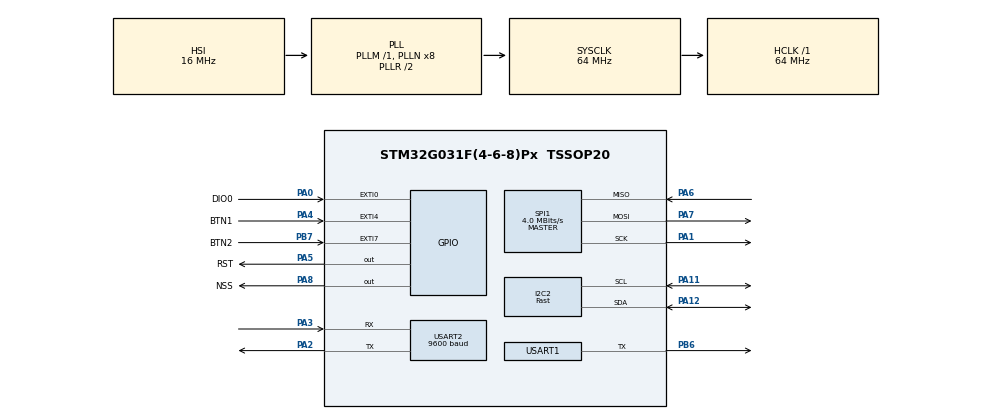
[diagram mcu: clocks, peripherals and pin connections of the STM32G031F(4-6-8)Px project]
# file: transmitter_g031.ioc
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I2C2.I2C_Speed_Mode=I2C_Fast
I2C2.Timing=0x00602173
Mcu.Family=STM32G0
Mcu.Name=STM32G031F(4-6-8)Px
Mcu.Package=TSSOP20
NVIC.EXTI0_1_IRQn=true\:2\:0\:true\:true\:true\:1\:true\:true\:true
NVIC.EXTI4_15_IRQn=true\:3\:0\:true\:false\:true\:true\:true\:true
NVIC.TIM2_IRQn=true\:0\:0\:false\:false\:true\:true\:true\:true
NVIC.USART2_IRQn=true\:2\:0\:true\:true\:true\:2\:true\:true\:true
PA0.GPIO_Label=DIO0
PA0.Signal=GPXTI0
PA1.Mode=Full_Duplex_Master
PA1.Signal=SPI1_SCK
PA11\ [PA9].Mode=I2C
PA11\ [PA9].Signal=I2C2_SCL
PA12\ [PA10].Mode=I2C
PA12\ [PA10].Signal=I2C2_SDA
PA13.Mode=Serial_Wire
PA13.Signal=SYS_SWDIO
PA14-BOOT0.Mode=Serial_Wire
PA14-BOOT0.Signal=SYS_SWCLK
PA14-BOOT0__PA15.StandardMode=true
PA2.Mode=Asynchronous
PA2.Signal=USART2_TX
PA3.Mode=Asynchronous
PA3.Signal=USART2_RX
PA4.GPIO_Label=BTN1
PA4.GPIO_PuPd=GPIO_PULLDOWN
PA4.Signal=GPXTI4
PA5.GPIO_Label=RST
PA5.Signal=GPIO_Output
PA6.Mode=Full_Duplex_Master
PA6.Signal=SPI1_MISO
PA7.Mode=Full_Duplex_Master
PA7.Signal=SPI1_MOSI
PA8.GPIO_Label=NSS
PA8.Signal=GPIO_Output
PB0__PB1__PB2__PA8.StandardMode=true
PB3__PB4__PB5__PB6.StandardMode=true
PB6.Mode=Half_duplex(single_wire_mode)
PB6.Signal=USART1_TX
PB7.GPIO_Label=BTN2
PB7.GPIO_PuPd=GPIO_PULLDOWN
PB7.Signal=GPXTI7
PB7__PB8.StandardMode=true
PC14-OSC32_IN\ (PC14)__PB9.StandardMode=true
ProjectManager.HeapSize=0x200
ProjectManager.StackSize=0x400
ProjectManager.TargetToolchain=Makefile
RCC.ADCFreq_Value=64000000
RCC.AHBFreq_Value=64000000
RCC.CortexFreq_Value=64000000
RCC.EXTERNAL_CLOCK_VALUE=12288000
RCC.HCLKFreq_Value=64000000
RCC.HSE_VALUE=8000000
RCC.HSI_VALUE=16000000
RCC.LSE_VALUE=32768
RCC.SYSCLKFreq_VALUE=64000000
RCC.SYSCLKSource=RCC_SYSCLKSOURCE_PLLCLK
RCC.VCOOutputFreq_Value=128000000
SPI1.BaudRatePrescaler=SPI_BAUDRATEPRESCALER_16
SPI1.CalculateBaudRate=4.0 MBits/s
SPI1.Direction=SPI_DIRECTION_2LINES
SPI1.Mode=SPI_MODE_MASTER
SPI1.VirtualType=VM_MASTER
TIM2.Period=2000
TIM2.Prescaler=64000
USART1.Mode=MODE_TX
USART1.VirtualMode-Half_duplex(single_wire_mode)=VM_ASYNC
USART2.BaudRate=9600
USART2.VirtualMode-Asynchronous=VM_ASYNC
VP_TIM2_VS_ClockSourceINT.Mode=Internal
board=custom

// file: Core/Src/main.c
/* USER CODE BEGIN Header */
/**
  ******************************************************************************
  * @file           : main.c
  * @brief          : Main program body
  ******************************************************************************
  * @attention
  *
  * Copyright (c) 2023 STMicroelectronics.
  * All rights reserved.
  *
  * This software is licensed under terms that can be found in the LICENSE file
  * in the root directory of this software component.
  * If no LICENSE file comes with this software, it is provided AS-IS.
  *
  ******************************************************************************
  */
/* USER CODE END Header */
#include "main.h"

I2C_HandleTypeDef hi2c2;

SPI_HandleTypeDef hspi1;

TIM_HandleTypeDef htim2;

UART_HandleTypeDef huart1;
UART_HandleTypeDef huart2;

/* USER CODE BEGIN PV */
SX1278_TypeDef lora;
SX1278_Status_TypeDef lora_status;
Program_Status program_status;
MENU_TypeDef menu;
uint8_t gps_msg[196];
uint8_t gps_msg_len;
uint8_t gps_single_byte;
/* USER CODE END PV */

void SystemClock_Config(void);
static void MX_GPIO_Init(void);
static void MX_I2C2_Init(void);
static void MX_SPI1_Init(void);
static void MX_USART1_UART_Init(void);
static void MX_USART2_UART_Init(void);
static void MX_TIM2_Init(void);
static void MX_NVIC_Init(void);

int main(void)
{

  /* MCU Configuration--------------------------------------------------------*/

  /* Reset of all peripherals, Initializes the Flash interface and the Systick. */
  HAL_Init();

  /* Configure the system clock */
  SystemClock_Config();

  /* Initialize all configured peripherals */
  MX_GPIO_Init();
  MX_I2C2_Init();
  MX_SPI1_Init();
  MX_USART1_UART_Init();
  MX_USART2_UART_Init();
  MX_TIM2_Init();

  /* Initialize interrupts */
  MX_NVIC_Init();
  /* USER CODE BEGIN 2 */
  printf("\r\n===================================\r\n");
  program_status = IDLE;
  debug_print("%s\r\n", "program_status = IDLE");
  ssd1306_init(&hi2c2);
  HAL_Delay(1000);
  if (gps_init(&huart2) != HAL_OK) {
    Error_Handler();
  }
  HAL_Delay(3000);
  lora = new_lora(TRANSMITTER, &hspi1, NSS_GPIO_Port, NSS_Pin, RST_GPIO_Port, RST_Pin);
  lora.freqMHz = 433;
  lora.bandwidth = BW_125KHz;
  lora.spreading_factor = SF_8;
  lora.coding_rate = CODING_RATE_4_8;
  lora.syncword = 0x12;
  lora.power = 19;
  lora.crc = 0x00;
  uint8_t counter = 0;
  char msg1[255];
  char msg2[255];
  char debug_msg[22];
  uint32_t idle_counter = 0;
  menu = new_menu();
  if (lora_init(&lora) != LORA_OK) {
		Error_Handler();
	}
//  lora_dump_registers(&lora);
  debug_print("%s\r\n", "INFO: SX1278 Initialized");
  debug_print("%s\r\n", "INFO: Timer2 started");
  HAL_TIM_Base_Start_IT(&htim2);
  /* USER CODE END 2 */

  /* Infinite loop */
  while (1)
  {

    /* USER CODE BEGIN 3 */

    switch (program_status) {
      case IDLE:
        idle_counter++;
        if ((idle_counter % 524288) == 0) {
          debug_print("%s\r\n", "INFO: Idling");
        }
        break;
      case CONFIG:
        HAL_TIM_Base_Stop_IT(&htim2);
        if (menu.btn1_state == BUTTON_ON) {
          menu.btn1_state = BUTTON_OFF;
          menu.active_position++;
          if (menu.active_position >= MENU_SIZE) {
            menu.active_position = 0;
            debug_print("%s\r\n", "program_status = IDLE");
            program_status = IDLE;
            if (lora_init(&lora) != LORA_OK) {
		          Error_Handler();
	          }
            HAL_TIM_Base_Start_IT(&htim2);
            break;
          } else {
            menu_get_active_item(&menu, &lora);
          }
        }
        if (menu.btn2_state == BUTTON_ON) {
          menu.btn2_state = BUTTON_OFF;
          menu_increase_item(&menu, &lora);
        }
        ssd1306_clear();
        ssd1306_printstring(menu.menu_position[menu.active_position], 5, 1);
        ssd1306_printhex(menu.menu_items[menu.active_position][menu.active_item], 7, 1);
        ssd1306_commit(&hi2c2);
        break;
      case REQUEST4POSITION:
        HAL_UART_Receive_IT(&huart2, &gps_single_byte, 1);
        debug_print("%s\r\n", "program_status = IDLE");
        program_status = IDLE;
        if (gps_position_request(&huart2) != HAL_OK) {
          program_status = REQUEST4POSITION;
        }
        break;
      case TRANSMITTING:
        debug_print("%s\r\n", gps_msg);
        memset(debug_msg, '\0', 22);
        memset(msg1, '\0', 255);
        memset(msg2, '\0', 255);
        strncpy(debug_msg, (char *)gps_msg + GPS_POS_LAT, 12);
        sprintf(msg1, "%03d,0%s", counter, debug_msg);
        counter++;

        memset(debug_msg, '\0', 22);
        strncpy(debug_msg, (char *)gps_msg + GPS_POS_LON, 13);
        sprintf(msg2, "%03d,%s", counter, debug_msg);
        counter++;

        if (lora_send(&lora, (uint8_t *)msg1, strlen(msg1)) == LORA_OK) {
          HAL_Delay(TIME_BETWEEN_MSGS);
          if (lora_send(&lora, (uint8_t *)msg2, strlen(msg2)) == LORA_OK) {
            ssd1306_clear();
            debug_print("%s\r\n", "program_status = IDLE");
            program_status = IDLE;
            debug_print("%s %s\r\n", "TRANSMITTED", msg1);
            debug_print("%s %s\r\n", "TRANSMITTED", msg2);
            sprintf(debug_msg, "%x  %x  0%x  %x",lora.spreading_factor, lora.bandwidth, lora.coding_rate, lora.crc);
            ssd1306_printstring("SF  BW  CR  CRC", 6, 1);
            ssd1306_printstring(debug_msg, 7, 1);
            ssd1306_printstring(msg1, 0, 1);
            ssd1306_printstring(msg2, 1, 1);
            ssd1306_commit(&hi2c2);
          }
        }
        break;
      default:
        break;
    }

  }
  /* USER CODE END 3 */
}

void SystemClock_Config(void)
{
  RCC_OscInitTypeDef RCC_OscInitStruct = {0};
  RCC_ClkInitTypeDef RCC_ClkInitStruct = {0};

  /** Configure the main internal regulator output voltage
  */
  HAL_PWREx_ControlVoltageScaling(PWR_REGULATOR_VOLTAGE_SCALE1);

  /** Initializes the RCC Oscillators according to the specified parameters
  * in the RCC_OscInitTypeDef structure.
  */
  RCC_OscInitStruct.OscillatorType = RCC_OSCILLATORTYPE_HSI;
  RCC_OscInitStruct.HSIState = RCC_HSI_ON;
  RCC_OscInitStruct.HSIDiv = RCC_HSI_DIV1;
  RCC_OscInitStruct.HSICalibrationValue = RCC_HSICALIBRATION_DEFAULT;
  RCC_OscInitStruct.PLL.PLLState = RCC_PLL_ON;
  RCC_OscInitStruct.PLL.PLLSource = RCC_PLLSOURCE_HSI;
  RCC_OscInitStruct.PLL.PLLM = RCC_PLLM_DIV1;
  RCC_OscInitStruct.PLL.PLLN = 8;
  RCC_OscInitStruct.PLL.PLLP = RCC_PLLP_DIV2;
  RCC_OscInitStruct.PLL.PLLQ = RCC_PLLQ_DIV2;
  RCC_OscInitStruct.PLL.PLLR = RCC_PLLR_DIV2;
  if (HAL_RCC_OscConfig(&RCC_OscInitStruct) != HAL_OK)
  {
    Error_Handler();
  }

  /** Initializes the CPU, AHB and APB buses clocks
  */
  RCC_ClkInitStruct.ClockType = RCC_CLOCKTYPE_HCLK|RCC_CLOCKTYPE_SYSCLK
                              |RCC_CLOCKTYPE_PCLK1;
  RCC_ClkInitStruct.SYSCLKSource = RCC_SYSCLKSOURCE_PLLCLK;
  RCC_ClkInitStruct.AHBCLKDivider = RCC_SYSCLK_DIV1;
  RCC_ClkInitStruct.APB1CLKDivider = RCC_HCLK_DIV1;

  if (HAL_RCC_ClockConfig(&RCC_ClkInitStruct, FLASH_LATENCY_2) != HAL_OK)
  {
    Error_Handler();
  }
}

/**
  * @brief NVIC Configuration.
  * @retval None
  */
static void MX_NVIC_Init(void)
{
  /* EXTI0_1_IRQn interrupt configuration */
  HAL_NVIC_SetPriority(EXTI0_1_IRQn, 2, 0);
  HAL_NVIC_EnableIRQ(EXTI0_1_IRQn);
  /* USART2_IRQn interrupt configuration */
  HAL_NVIC_SetPriority(USART2_IRQn, 2, 0);
  HAL_NVIC_EnableIRQ(USART2_IRQn);
}

static void MX_I2C2_Init(void)
{

  hi2c2.Instance = I2C2;
  hi2c2.Init.Timing = 0x00602173;
  hi2c2.Init.OwnAddress1 = 0;
  hi2c2.Init.AddressingMode = I2C_ADDRESSINGMODE_7BIT;
  hi2c2.Init.DualAddressMode = I2C_DUALADDRESS_DISABLE;
  hi2c2.Init.OwnAddress2 = 0;
  hi2c2.Init.OwnAddress2Masks = I2C_OA2_NOMASK;
  hi2c2.Init.GeneralCallMode = I2C_GENERALCALL_DISABLE;
  hi2c2.Init.NoStretchMode = I2C_NOSTRETCH_DISABLE;
  if (HAL_I2C_Init(&hi2c2) != HAL_OK)
  {
    Error_Handler();
  }

  /** Configure Analogue filter
  */
  if (HAL_I2CEx_ConfigAnalogFilter(&hi2c2, I2C_ANALOGFILTER_ENABLE) != HAL_OK)
  {
    Error_Handler();
  }

  /** Configure Digital filter
  */
  if (HAL_I2CEx_ConfigDigitalFilter(&hi2c2, 0) != HAL_OK)
  {
    Error_Handler();
  }

}

static void MX_SPI1_Init(void)
{

  /* SPI1 parameter configuration*/
  hspi1.Instance = SPI1;
  hspi1.Init.Mode = SPI_MODE_MASTER;
  hspi1.Init.Direction = SPI_DIRECTION_2LINES;
  hspi1.Init.DataSize = SPI_DATASIZE_8BIT;
  hspi1.Init.CLKPolarity = SPI_POLARITY_LOW;
  hspi1.Init.CLKPhase = SPI_PHASE_1EDGE;
  hspi1.Init.NSS = SPI_NSS_SOFT;
  hspi1.Init.BaudRatePrescaler = SPI_BAUDRATEPRESCALER_16;
  hspi1.Init.FirstBit = SPI_FIRSTBIT_MSB;
  hspi1.Init.TIMode = SPI_TIMODE_DISABLE;
  hspi1.Init.CRCCalculation = SPI_CRCCALCULATION_DISABLE;
  hspi1.Init.CRCPolynomial = 7;
  hspi1.Init.CRCLength = SPI_CRC_LENGTH_DATASIZE;
  hspi1.Init.NSSPMode = SPI_NSS_PULSE_ENABLE;
  if (HAL_SPI_Init(&hspi1) != HAL_OK)
  {
    Error_Handler();
  }

}

static void MX_TIM2_Init(void)
{

  TIM_ClockConfigTypeDef sClockSourceConfig = {0};
  TIM_MasterConfigTypeDef sMasterConfig = {0};

  htim2.Instance = TIM2;
  htim2.Init.Prescaler = 64000;
  htim2.Init.CounterMode = TIM_COUNTERMODE_UP;
  htim2.Init.Period = 2000;
  htim2.Init.ClockDivision = TIM_CLOCKDIVISION_DIV1;
  htim2.Init.AutoReloadPreload = TIM_AUTORELOAD_PRELOAD_DISABLE;
  if (HAL_TIM_Base_Init(&htim2) != HAL_OK)
  {
    Error_Handler();
  }
  sClockSourceConfig.ClockSource = TIM_CLOCKSOURCE_INTERNAL;
  if (HAL_TIM_ConfigClockSource(&htim2, &sClockSourceConfig) != HAL_OK)
  {
    Error_Handler();
  }
  sMasterConfig.MasterOutputTrigger = TIM_TRGO_RESET;
  sMasterConfig.MasterSlaveMode = TIM_MASTERSLAVEMODE_DISABLE;
  if (HAL_TIMEx_MasterConfigSynchronization(&htim2, &sMasterConfig) != HAL_OK)
  {
    Error_Handler();
  }

}

static void MX_USART1_UART_Init(void)
{

  huart1.Instance = USART1;
  huart1.Init.BaudRate = 115200;
  huart1.Init.WordLength = UART_WORDLENGTH_8B;
  huart1.Init.StopBits = UART_STOPBITS_1;
  huart1.Init.Parity = UART_PARITY_NONE;
  huart1.Init.Mode = UART_MODE_TX;
  huart1.Init.HwFlowCtl = UART_HWCONTROL_NONE;
  huart1.Init.OverSampling = UART_OVERSAMPLING_16;
  huart1.Init.OneBitSampling = UART_ONE_BIT_SAMPLE_DISABLE;
  huart1.Init.ClockPrescaler = UART_PRESCALER_DIV1;
  huart1.AdvancedInit.AdvFeatureInit = UART_ADVFEATURE_NO_INIT;
  if (HAL_HalfDuplex_Init(&huart1) != HAL_OK)
  {
    Error_Handler();
  }
  if (HAL_UARTEx_SetTxFifoThreshold(&huart1, UART_TXFIFO_THRESHOLD_1_8) != HAL_OK)
  {
    Error_Handler();
  }
  if (HAL_UARTEx_SetRxFifoThreshold(&huart1, UART_RXFIFO_THRESHOLD_1_8) != HAL_OK)
  {
    Error_Handler();
  }
  if (HAL_UARTEx_DisableFifoMode(&huart1) != HAL_OK)
  {
    Error_Handler();
  }

}

static void MX_USART2_UART_Init(void)
{

  huart2.Instance = USART2;
  huart2.Init.BaudRate = 9600;
  huart2.Init.WordLength = UART_WORDLENGTH_8B;
  huart2.Init.StopBits = UART_STOPBITS_1;
  huart2.Init.Parity = UART_PARITY_NONE;
  huart2.Init.Mode = UART_MODE_TX_RX;
  huart2.Init.HwFlowCtl = UART_HWCONTROL_NONE;
  huart2.Init.OverSampling = UART_OVERSAMPLING_16;
  huart2.Init.OneBitSampling = UART_ONE_BIT_SAMPLE_DISABLE;
  huart2.Init.ClockPrescaler = UART_PRESCALER_DIV1;
  huart2.AdvancedInit.AdvFeatureInit = UART_ADVFEATURE_NO_INIT;
  if (HAL_UART_Init(&huart2) != HAL_OK)
  {
    Error_Handler();
  }

}

static void MX_GPIO_Init(void)
{
  GPIO_InitTypeDef GPIO_InitStruct = {0};

  /* GPIO Ports Clock Enable */
  __HAL_RCC_GPIOB_CLK_ENABLE();
  __HAL_RCC_GPIOA_CLK_ENABLE();

  /*Configure GPIO pin Output Level */
  HAL_GPIO_WritePin(GPIOA, RST_Pin|NSS_Pin, GPIO_PIN_RESET);

  /*Configure GPIO pin : BTN2_Pin */
  GPIO_InitStruct.Pin = BTN2_Pin;
  GPIO_InitStruct.Mode = GPIO_MODE_IT_RISING;
  GPIO_InitStruct.Pull = GPIO_PULLDOWN;
  HAL_GPIO_Init(BTN2_GPIO_Port, &GPIO_InitStruct);

  /*Configure GPIO pin : DIO0_Pin */
  GPIO_InitStruct.Pin = DIO0_Pin;
  GPIO_InitStruct.Mode = GPIO_MODE_IT_RISING;
  GPIO_InitStruct.Pull = GPIO_NOPULL;
  HAL_GPIO_Init(DIO0_GPIO_Port, &GPIO_InitStruct);

  /*Configure GPIO pin : BTN1_Pin */
  GPIO_InitStruct.Pin = BTN1_Pin;
  GPIO_InitStruct.Mode = GPIO_MODE_IT_RISING;
  GPIO_InitStruct.Pull = GPIO_PULLDOWN;
  HAL_GPIO_Init(BTN1_GPIO_Port, &GPIO_InitStruct);

  /*Configure GPIO pins : RST_Pin NSS_Pin */
  GPIO_InitStruct.Pin = RST_Pin|NSS_Pin;
  GPIO_InitStruct.Mode = GPIO_MODE_OUTPUT_PP;
  GPIO_InitStruct.Pull = GPIO_NOPULL;
  GPIO_InitStruct.Speed = GPIO_SPEED_FREQ_LOW;
  HAL_GPIO_Init(GPIOA, &GPIO_InitStruct);

  /* EXTI interrupt init*/
  HAL_NVIC_SetPriority(EXTI4_15_IRQn, 3, 0);
  HAL_NVIC_EnableIRQ(EXTI4_15_IRQn);

}

/* USER CODE BEGIN 4 */
void HAL_GPIO_EXTI_Rising_Callback(uint16_t GPIO_Pin)
{

	if (GPIO_Pin == DIO0_Pin) {
		debug_print("%ld %s\r\n", HAL_GetTick(), "INFO: TX Complete");
		lora_write_register(&lora, RegIrqFlags, IRQ_TX_DONE_MASK);
		if (lora_safe_write(&lora, RegOpMode, LONG_RANGE_MODE | SLEEP_MODE) != LORA_OK) {
			Error_Handler();
		}
    debug_print("%s\r\n", "program_status = IDLE");
		program_status = IDLE;
    HAL_TIM_Base_Start_IT(&htim2);
	} else if (GPIO_Pin == BTN1_Pin) {
    debug_print("INFO: %s\r\n", "raising IRQ on btn1");
    if (menu.btn1_time_clicked == 0 || (HAL_GetTick() - menu.btn1_time_clicked) > DEBOUNCING_TIME) {
      debug_print("%s\r\n", "program_status = CONFIG");
      program_status = CONFIG;
      menu.btn1_time_clicked = HAL_GetTick();
      menu.btn1_state = BUTTON_ON;
    }
  } else if (GPIO_Pin == BTN2_Pin) {
    debug_print("INFO: %s\r\n", "raising IRQ on btn2");
    if (menu.btn2_time_clicked == 0 || (HAL_GetTick() - menu.btn2_time_clicked) > DEBOUNCING_TIME) {
      menu.btn2_time_clicked = HAL_GetTick();
      menu.btn2_state = BUTTON_ON;
    }
  }
	else {
		__NOP();
	}
}

/**
 * @brief Timer elapsed interrupt handler
 *
 * @param htim
 */
void HAL_TIM_PeriodElapsedCallback(TIM_HandleTypeDef *htim)
{
  if (htim == &htim2) {
    debug_print("%s\r\n", "INFO: Timer2 Elapsed");
    debug_print("%s\r\n", "program_status = REQUEST4POSITION");
    program_status = REQUEST4POSITION;
    HAL_TIM_Base_Stop_IT(&htim2);
  }
}

/**
 * @brief UART receive complete interrupt handler
 *
 * @param huart
 */
void HAL_UART_RxCpltCallback(UART_HandleTypeDef *huart)
{
  if (program_status == CONFIG) {
    return ;
  }
  switch (gps_single_byte) {
	case 0x24:  /* '$' character starts message */
		program_status = RECEIVING_POSITION;
    debug_print("%s\r\n", "INFO: Entering RECEIVING POSITION state");
		gps_msg_len = 0;
    memset(gps_msg, '\0', 196);
		gps_msg[gps_msg_len] = gps_single_byte;
		gps_msg_len++;
		break;
	case 0x0A:
		if (program_status == RECEIVING_POSITION) {
			gps_msg[gps_msg_len] = gps_single_byte;
			gps_msg_len++;
			program_status = TRANSMITTING;
      debug_print("%s\r\n", "INFO: Entering TRANSMITTING state. Position received.");
		} else {
			program_status = IDLE;
		}
		break;
	default:
		if (program_status == RECEIVING_POSITION) {
			gps_msg[gps_msg_len] = gps_single_byte;
			gps_msg_len++;
		}
		break;
	}
  HAL_UART_Receive_IT(&huart2, &gps_single_byte, 1);
}

int _write(int file, char *ptr, int len)
{
  HAL_UART_Transmit(&huart1, (uint8_t *)ptr, len, 100);
  return len;
}
/* USER CODE END 4 */

void Error_Handler(void)
{
  /* USER CODE BEGIN Error_Handler_Debug */
  /* User can add his own implementation to report the HAL error return state */
  debug_print("%s", "CRITICAL: Resetting MCU\r\n");
  debug_print("%s", "\r\n=================END===============\r\n");
  __disable_irq();
  NVIC_SystemReset();
  while (1)
  {
  }
  /* USER CODE END Error_Handler_Debug */
}
